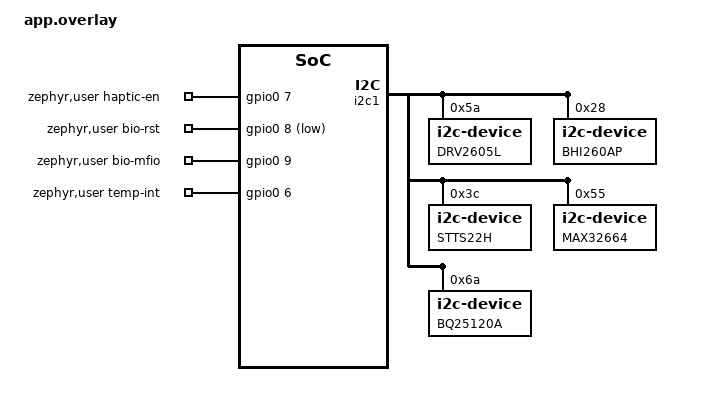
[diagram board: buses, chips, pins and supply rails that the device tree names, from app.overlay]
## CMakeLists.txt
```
#
# Copyright (c) 2018 Nordic Semiconductor
#
# SPDX-License-Identifier: LicenseRef-Nordic-5-Clause
#
cmake_minimum_required(VERSION 3.20.0)

find_package(Zephyr REQUIRED HINTS $ENV{ZEPHYR_BASE})
project(app)

# Spécifie explicitement le chemin de sortie dans le dossier de build
generate_inc_file_for_target(app 
    ${CMAKE_CURRENT_SOURCE_DIR}/assets/bhi260ap_arc_fw.bin 
    ${CMAKE_CURRENT_BINARY_DIR}/bhi260ap_arc_fw.bin.inc
)
target_include_directories(app PRIVATE ${CMAKE_CURRENT_BINARY_DIR})

# NORDIC SDK APP START
target_sources(app PRIVATE src/main.c)

# NORDIC SDK APP END
zephyr_include_directories(
    assets
    include
    drivers
    subsys/algo
    subsys/ble
)

target_sources(app PRIVATE
    # Main file
    src/main.c

    # Layer 1: Hardware Drivers
    drivers/imu_driver.c
    drivers/bio_driver.c
    drivers/temp_driver.c
    drivers/charge_driver.c
    drivers/haptic_driver.c

    # Layer 2: Processing Algorithms and Monitors
    subsys/algo/sensors_wrapper.c
    subsys/algo/power_monitor.c

    # Layer 3: GATT Services (BLE Interface)
    subsys/ble/gringgo_gatt.c
)
```

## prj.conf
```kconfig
#
# Copyright (c) 2018 Nordic Semiconductor
#
# SPDX-License-Identifier: LicenseRef-Nordic-5-Clause
#
CONFIG_NCS_SAMPLES_DEFAULTS=y

CONFIG_BT=y
CONFIG_BT_PERIPHERAL=y
CONFIG_BT_DEVICE_NAME="Nordic_LBS"

CONFIG_I2C=y
CONFIG_GPIO=y
CONFIG_LOG=y

# Enable the LBS service
CONFIG_BT_LBS=y
CONFIG_BT_LBS_POLL_BUTTON=y
CONFIG_DK_LIBRARY=y

CONFIG_SYSTEM_WORKQUEUE_STACK_SIZE=2048

# --- OPTIMISATION STABILITÉ BLE ---

# 1. Augmenter les buffers de transmission (TX)
CONFIG_BT_L2CAP_TX_BUF_COUNT=10
CONFIG_BT_CONN_TX_MAX=10

# 2. Augmenter la taille des paquets côté Host
CONFIG_BT_USER_DATA_LEN_UPDATE=y
CONFIG_BT_BUF_ACL_RX_SIZE=251
CONFIG_BT_BUF_ACL_TX_SIZE=251

# 3. Paramètres de connexion préférés (Plus tolérants pour Android)
# Intervalle min : ~30ms
CONFIG_BT_PERIPHERAL_PREF_MIN_INT=24
# Intervalle max : ~50ms
CONFIG_BT_PERIPHERAL_PREF_MAX_INT=40
# Timeout de supervision : 4 secondes
CONFIG_BT_PERIPHERAL_PREF_TIMEOUT=400
```

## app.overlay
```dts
/ {
    aliases {
        haptic-i2c = &drv2605l;
        imu-i2c = &bhi260ap;
        temp-i2c = &stts22h;
        bio-i2c = &max32664;
        chg-i2c = &bq25120a;
    };

    /* GPIO pins for various functions */
    zephyr,user {
        haptic-en-gpios = <&gpio0 7 GPIO_ACTIVE_HIGH>;
        bio-rst-gpios = <&gpio0 8 GPIO_ACTIVE_LOW>;
        bio-mfio-gpios = <&gpio0 9 GPIO_ACTIVE_HIGH>;
        temp-int-gpios = <&gpio0 6 GPIO_ACTIVE_HIGH>;
    };
};

&i2c1 {
    status = "okay";
    
    /* Haptic Driver DRV2605L */
    drv2605l: drv2605l@5a {
        compatible = "i2c-device";
        reg = <0x5a>;
        label = "DRV2605L";
    };

    /* IMU BHI260AP */
    bhi260ap: bhi260ap@28 {
        compatible = "i2c-device";
        reg = <0x28>;
        label = "BHI260AP";
    };

    /* Temperature Sensor STTS22H */
    stts22h: stts22h@3C {
        compatible = "i2c-device";
        reg = <0x3C>;
        label = "STTS22H";
    };

    /* Biometric Sensor MAX32664 */
    max32664: max32664@55 {
        compatible = "i2c-device";
        reg = <0x55>;
        label = "MAX32664";
    };

    /* Charge Controller BQ25120A */
    bq25120a: bq25120a@6a {
        compatible = "i2c-device";
        reg = <0x6a>;
        label = "BQ25120A";
    };
};
```

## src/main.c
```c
#include <zephyr/types.h>
#include <stddef.h>
#include <string.h>
#include <errno.h>
#include <zephyr/sys/printk.h>
#include <zephyr/sys/byteorder.h>
#include <zephyr/kernel.h>
#include <zephyr/bluetooth/bluetooth.h>
#include <zephyr/bluetooth/hci.h>
#include <zephyr/bluetooth/conn.h>
#include <zephyr/bluetooth/uuid.h>
#include <zephyr/bluetooth/gatt.h>
#include <dk_buttons_and_leds.h>

#define DEVICE_NAME             "nrf"
#define DEVICE_NAME_LEN         (sizeof(DEVICE_NAME) - 1)

#define RUN_STATUS_LED          DK_LED1
#define CON_STATUS_LED          DK_LED2
#define SIMUL_INTERVAL_MS       1000
#define LOW_ENERGY_INTERVAL_MS  5000 // Intervalle quand Low Energy est activé (5 secondes)

/* --- Variables Globales de Simulation --- */
static uint8_t sim_bpm = 70;
static uint8_t sim_spo2 = 98;
static uint32_t sim_steps = 1250;
static uint8_t sim_battery = 85;
static uint8_t sim_temp = 36; 
static uint8_t last_notified_battery = 85; // Initialisée à la même valeur que sim_battery

// Variables pour stocker les états d'activation (reçus de l'appli Android)
static uint8_t health_activation_state = 0;
static uint8_t low_energy_state = 0;
static uint8_t haptic_alert_level = 0;

/* --- Déclaration des UUIDs GATT (16-bit) --- */
#define UUID_SERV_HRS             0x180D
#define UUID_CHAR_HRS_MEAS        0x2A37
#define UUID_SERV_HTS             0x1809
#define UUID_CHAR_HTS_MEAS        0x2B03
#define UUID_SERV_PLX             0x1822
#define UUID_CHAR_PLX_MEAS        0x2B04
#define UUID_SERV_RSC             0x1814
#define UUID_CHAR_RSC_MEAS        0x1068
#define UUID_SERV_DIS             0x180A
#define UUID_CHAR_HEALTH_ACT      0x2B01
#define UUID_CHAR_LOW_EN_ACT      0x2B02
#define UUID_CHAR_MANUF_NAME      0x2A29
#define UUID_SERV_ANS             0x1811
#define UUID_CHAR_ALERT_LEVEL     0x2A45
#define UUID_SERV_BAS             0x180F
#define UUID_CHAR_BATT_LEVEL      0x2A19

/* --- Callbacks d'écriture de l'application Android --- */
static ssize_t write_health_act(struct bt_conn *conn, const struct bt_gatt_attr *attr,
                               const void *buf, uint16_t len, uint16_t offset, uint8_t flags)
{
    if (len != 1) return BT_GATT_ERR(BT_ATT_ERR_INVALID_ATTRIBUTE_LEN);
    health_activation_state = ((uint8_t *)buf)[0];
    printk("[GATT WRITE] Health Activation modifie par Android : %u\n", health_activation_state);
    return len;
}

static ssize_t write_low_en(struct bt_conn *conn, const struct bt_gatt_attr *attr,
                            const void *buf, uint16_t len, uint16_t offset, uint8_t flags)
{
    if (len != 1) return BT_GATT_ERR(BT_ATT_ERR_INVALID_ATTRIBUTE_LEN);
    low_energy_state = ((uint8_t *)buf)[0];
    printk("[GATT WRITE] Low Energy Activation modifie par Android : %u\n", low_energy_state);
    return len;
}

static ssize_t write_haptic(struct bt_conn *conn, const struct bt_gatt_attr *attr,
                            const void *buf, uint16_t len, uint16_t offset, uint8_t flags)
{
    if (len != 1) return BT_GATT_ERR(BT_ATT_ERR_INVALID_ATTRIBUTE_LEN);
    haptic_alert_level = ((uint8_t *)buf)[0];
    printk("[GATT WRITE] Alerte Haptique recue depuis Android ! Niveau : %u\n", haptic_alert_level);
    return len;
}

/* --- DÉFINITION DE LA TABLE DES SERVICES GATT DE GRING-GO --- */
BT_GATT_SERVICE_DEFINE(gringgo_svc,
    /* 1. Heart Rate Service (BPM) */
    BT_GATT_PRIMARY_SERVICE(BT_UUID_DECLARE_16(UUID_SERV_HRS)),
    BT_GATT_CHARACTERISTIC(BT_UUID_DECLARE_16(UUID_CHAR_HRS_MEAS), 
                           BT_GATT_CHRC_NOTIFY, BT_GATT_PERM_NONE, NULL, NULL, NULL),
    BT_GATT_CCC(NULL, BT_GATT_PERM_READ | BT_GATT_PERM_WRITE),

    /* 2. Health Thermometer Service (Température) */
    BT_GATT_PRIMARY_SERVICE(BT_UUID_DECLARE_16(UUID_SERV_HTS)),
    BT_GATT_CHARACTERISTIC(BT_UUID_DECLARE_16(UUID_CHAR_HTS_MEAS), 
                           BT_GATT_CHRC_NOTIFY, BT_GATT_PERM_NONE, NULL, NULL, NULL),
    BT_GATT_CCC(NULL, BT_GATT_PERM_READ | BT_GATT_PERM_WRITE),

    /* 3. Pulse Oximeter Service (SpO2) */
    BT_GATT_PRIMARY_SERVICE(BT_UUID_DECLARE_16(UUID_SERV_PLX)),
    BT_GATT_CHARACTERISTIC(BT_UUID_DECLARE_16(UUID_CHAR_PLX_MEAS), 
                           BT_GATT_CHRC_NOTIFY, BT_GATT_PERM_NONE, NULL, NULL, NULL),
    BT_GATT_CCC(NULL, BT_GATT_PERM_READ | BT_GATT_PERM_WRITE),

    /* 4. Running Speed and Cadence Service (Steps) */
    BT_GATT_PRIMARY_SERVICE(BT_UUID_DECLARE_16(UUID_SERV_RSC)),
    BT_GATT_CHARACTERISTIC(BT_UUID_DECLARE_16(UUID_CHAR_RSC_MEAS), 
                           BT_GATT_CHRC_NOTIFY, BT_GATT_PERM_NONE, NULL, NULL, NULL),
    BT_GATT_CCC(NULL, BT_GATT_PERM_READ | BT_GATT_PERM_WRITE),

    /* 5. Device Information Service (DIS) */
    BT_GATT_PRIMARY_SERVICE(BT_UUID_DECLARE_16(UUID_SERV_DIS)),
    BT_GATT_CHARACTERISTIC(BT_UUID_DECLARE_16(UUID_CHAR_MANUF_NAME), 
                           BT_GATT_CHRC_READ, BT_GATT_PERM_READ, NULL, NULL, "Gring-Go Team"),
    BT_GATT_CHARACTERISTIC(BT_UUID_DECLARE_16(UUID_CHAR_HEALTH_ACT), 
                           BT_GATT_CHRC_WRITE, BT_GATT_PERM_WRITE, NULL, write_health_act, &health_activation_state),
    BT_GATT_CHARACTERISTIC(BT_UUID_DECLARE_16(UUID_CHAR_LOW_EN_ACT), 
                           BT_GATT_CHRC_WRITE, BT_GATT_PERM_WRITE, NULL, write_low_en, &low_energy_state),

    /* 6. Alert Notification Service (Haptic Return) */
    BT_GATT_PRIMARY_SERVICE(BT_UUID_DECLARE_16(UUID_SERV_ANS)),
    BT_GATT_CHARACTERISTIC(BT_UUID_DECLARE_16(UUID_CHAR_ALERT_LEVEL), 
                           BT_GATT_CHRC_WRITE, BT_GATT_PERM_WRITE, NULL, write_haptic, &haptic_alert_level),

    /* 7. Battery Service (BAS) */
    BT_GATT_PRIMARY_SERVICE(BT_UUID_DECLARE_16(UUID_SERV_BAS)),
    BT_GATT_CHARACTERISTIC(BT_UUID_DECLARE_16(UUID_CHAR_BATT_LEVEL), 
                           BT_GATT_CHRC_READ | BT_GATT_CHRC_NOTIFY, BT_GATT_PERM_READ, NULL, NULL, &sim_battery),
    BT_GATT_CCC(NULL, BT_GATT_PERM_READ | BT_GATT_PERM_WRITE)
);

/* --- Configuration de l'Advertising --- */
static const struct bt_data ad[] = {
    BT_DATA_BYTES(BT_DATA_FLAGS, (BT_LE_AD_GENERAL | BT_LE_AD_NO_BREDR)),
    BT_DATA(BT_DATA_NAME_COMPLETE, DEVICE_NAME, DEVICE_NAME_LEN),
};

static const struct bt_data sd[] = {
    BT_DATA_BYTES(BT_DATA_UUID16_ALL, 
                  BT_UUID_16_ENCODE(UUID_SERV_HRS), 
                  BT_UUID_16_ENCODE(UUID_SERV_HTS), 
                  BT_UUID_16_ENCODE(UUID_SERV_BAS)),
};

/* --- Callbacks Connexion Bluetooth --- */
static void connected(struct bt_conn *conn, uint8_t err) {
    if (err) { 
        printk("[STATUS] Echec connexion BLE (err %u)\n", err); 
        return; 
    }
    printk("[STATUS] Connecte a l'application Android !\n");
    dk_set_led_on(CON_STATUS_LED);
}

static void disconnected(struct bt_conn *conn, uint8_t reason) {
    printk("[STATUS] Deconnecte (Raison : %u)\n", reason);
    dk_set_led_off(CON_STATUS_LED);
}

BT_CONN_CB_DEFINE(conn_callbacks) = {
    .connected = connected,
    .disconnected = disconnected,
};

void notify_bpm(uint8_t bpm_val) {
    uint8_t hrm_data[2] = {0x00, bpm_val}; 
    int err = bt_gatt_notify(NULL, &gringgo_svc.attrs[2], hrm_data, sizeof(hrm_data));
    if (err && err != -ENOTCONN) printk("[NOTIFY ERR] BPM (err %d)\n", err);
    else if (!err) printk("[NOTIFY SUCCESS] BPM (%u) transmis\n", bpm_val);
}

void notify_temperature(uint8_t temp_val) {
    uint8_t hts_data[2] = {0x00, temp_val}; 
    int err = bt_gatt_notify(NULL, &gringgo_svc.attrs[6], hts_data, sizeof(hts_data));
    if (err && err != -ENOTCONN) printk("[NOTIFY ERR] TEMP (err %d)\n", err);
    else if (!err) printk("[NOTIFY SUCCESS] TEMP (%u°C) transmis\n", temp_val);
}

void notify_spo2(uint8_t spo2_val) {
    uint8_t plx_data[2] = {0x00, spo2_val}; 
    int err = bt_gatt_notify(NULL, &gringgo_svc.attrs[10], plx_data, sizeof(plx_data));
    if (err && err != -ENOTCONN) printk("[NOTIFY ERR] SPO2 (err %d)\n", err);
    else if (!err) printk("[NOTIFY SUCCESS] SPO2 (%u%%) transmis\n", spo2_val);
}

void notify_steps(uint32_t steps_val) {
    uint8_t step_data[4];
    sys_put_le32(steps_val, step_data); 
    int err = bt_gatt_notify(NULL, &gringgo_svc.attrs[14], step_data, sizeof(step_data));
    if (err && err != -ENOTCONN) printk("[NOTIFY ERR] STEPS (err %d)\n", err);
    else if (!err) printk("[NOTIFY SUCCESS] STEPS (%u) transmis\n", steps_val);
}

void notify_battery(uint8_t batt_val) {
    // Ne pas envoyer de notification si la valeur n'a pas changé
    if (batt_val == last_notified_battery) {
        return;
    }

    int err = bt_gatt_notify(NULL, &gringgo_svc.attrs[28], &batt_val, sizeof(batt_val));
    if (err && err != -ENOTCONN) {
        printk("[NOTIFY ERR] BATT (err %d)\n", err);
    } else if (!err) {
        printk("[NOTIFY SUCCESS] BATT (%u%%) transmis\n", batt_val);
        last_notified_battery = batt_val; // Mettre à jour la dernière valeur envoyée
    }
}

int main(void)
{
    int blink_status = 0;
    int err;

    printk("\n--- INITIALISATION DU SYSTEME SIMULE ---\n");

    err = dk_leds_init();
    if (err) {
        printk("[ERR] Initialisation des LEDs impossible (err %d)\n", err);
        return 0;
    }
    printk("[INIT] LEDs initialisees avec succes\n");

    err = bt_enable(NULL);
    if (err) { 
        printk("[ERR] Initialisation du Bluetooth echouee (err %d)\n", err); 
        return 0; 
    }
    printk("[INIT] Stack Bluetooth activee\n");

    err = bt_le_adv_start(BT_LE_ADV_CONN, ad, ARRAY_SIZE(ad), sd, ARRAY_SIZE(sd));
    if (err) { 
        printk("[ERR] Lancement de l'Advertising echoue (err %d)\n", err); 
        return 0; 
    }
    printk("[INIT] Advertising lance avec succes, en attente du smartphone...\n");

    for (;;) {
        dk_set_led(RUN_STATUS_LED, (++blink_status) % 2);

        printk("\n[SIMUL] --- Generation Top %d ---", blink_status);
        printk(" | Sante: %s | Low Energy: %s\n",
            (health_activation_state == 1) ? "ON" : "OFF",
            (low_energy_state == 1) ? "ON" : "OFF");

        /* --- LOGIQUE 1 : MODE SANTÉ --- */
        // Mise à jour des variables de simulation (toujours active)
        if (health_activation_state == 1) {
            sim_bpm++; if(sim_bpm > 110) sim_bpm = 65;
            sim_steps += 2;
            sim_spo2 = (blink_status % 20 == 0) ? 97 : 99;
            sim_temp = (blink_status % 10 == 0) ? 37 : 36;
        }

        /* --- LOGIQUE 2 : ENVOI DES NOTIFICATIONS --- */
        // On n'envoie les notifications que si :
        // - Le mode Santé est activé ET le mode Low Energy est désactivé
        if (health_activation_state == 1 && low_energy_state == 0) {
            notify_bpm(sim_bpm);
            notify_temperature(sim_temp);
            notify_spo2(sim_spo2);
            notify_steps(sim_steps);
        } else if (low_energy_state == 1) {
            printk("[SIMUL] Mode Low Energy actif : notifications des capteurs désactivées.\n");
        } else {
            printk("[SIMUL] Suivi Santé désactivé, capteurs en veille.\n");
        }

        /* --- LA BATTERIE --- */
        // La batterie est toujours envoyée, même en Low Energy
        if (blink_status % 60 == 0 && sim_battery > 5) {
            sim_battery--;
            notify_battery(sim_battery); // notify_battery vérifie si la valeur a changé
        }

        /* --- LOGIQUE 3 : MODE LOW ENERGY --- */
        // On ajuste le temps de pause en fonction de l'état du Low Energy
        int current_delay = (low_energy_state == 1) ? LOW_ENERGY_INTERVAL_MS : SIMUL_INTERVAL_MS;
        k_sleep(K_MSEC(current_delay));
    }
}
```

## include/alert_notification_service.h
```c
#ifndef ALERT_NOTIFICATION_SERVICE_H_
#define ALERT_NOTIFICATION_SERVICE_H_

#include <stdint.h>

/* Send alert notification with type and level */
void ANS_SendAlert(uint8_t alert_type, uint8_t alert_level);

/* Get current alert level */
uint8_t ANS_GetAlertLevel(void);

#endif /* ALERT_NOTIFICATION_SERVICE_H_ */
```

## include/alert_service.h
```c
#ifndef ALERT_SERVICE_H_
#define ALERT_SERVICE_H_

#include <stdint.h>
#include "gringgo_types.h"

void ALERT_SERVICE_Init(void);
void ALERT_SERVICE_Notify(alert_effect_t effect_id);
void ALERT_SERVICE_Clear(void);

#endif /* ALERT_SERVICE_H_ */
```

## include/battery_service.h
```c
#ifndef BATTERY_SERVICE_H_
#define BATTERY_SERVICE_H_

#include <stdint.h>

/* Update battery level and send notification */
void BAS_NotifyLevel(uint8_t level);

#endif /* BATTERY_SERVICE_H_ */
```

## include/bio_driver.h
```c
#ifndef BIO_DRIVER_H_
#define BIO_DRIVER_H_

#include <zephyr/types.h>
#include "gringgo_types.h"
#include "gringgo_status.h"

/* --- Familles de Commandes (UG6806) --- */
#define BIO_FAM_HUB_STATUS         0x00
#define BIO_FAM_SET_DEVICE_MODE    0x01
#define BIO_FAM_READ_DEVICE_MODE   0x02
#define BIO_FAM_OUTPUT_MODE        0x10
#define BIO_FAM_READ_DATA          0x12
#define BIO_FAM_INPUT_FIFO         0x14
#define BIO_FAM_SENSOR_CONF        0x44
#define BIO_FAM_ALGO_CONF          0x52
#define BIO_FAM_BTLDR_FLASH        0x80
#define BIO_FAM_IDENTITY           0xFF

/* --- Valeurs de Statut (Table 5, p.20) --- */
#define BIO_STATUS_SUCCESS         0x00
#define BIO_STATUS_ERR_TRY_AGAIN   0xFE

/* --- Valeurs de Configuration (Table 8) --- */
#define BIO_VAL_OUTPUT_SENSOR_ALGO     0x03  /* Sensor + Algo Data */
#define BIO_VAL_FIFO_THRESHOLD_DEFAULT 0x0F  /* Seuil FIFO standard */
#define BIO_VAL_EXT_ACCEL_EN           0x01  /* Activation source externe */
#define BIO_VAL_ALGO_MODE_WHRM         0x01  /* Mode algorithme 1 (WHRM) */

/* --- Prototypes du Driver --- */

int BIO_Init(void);
int BIO_SetMode(activity_mode_t mode);
int BIO_ReadData(bio_data_t *data);
int BIO_ReadHeartRate(bio_data_t *data);
int BIO_ReadSpO2(bio_data_t *data);
int BIO_InjectMotionData(imu_data_t *motion_data);

/* Fonctions utilitaires demandées par le squelette */
int BIO_WriteReg(uint8_t reg, uint8_t val);
int BIO_ReadReg(uint8_t reg, uint8_t *val);

#endif /* BIO_DRIVER_H_ */
```

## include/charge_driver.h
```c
#ifndef CHARGE_DRIVER_H_
#define CHARGE_DRIVER_H_

#include <stdbool.h>
#include <stdint.h>

#include "gringgo_types.h"
#include "gringgo_status.h"

/* BQ25120A compatibility constants used by charge_driver.c */
#define BQ_REG_SYS_VOUT       0x06
#define BQ_REG_BAT_VOLT       0x07
#define BQ_REG_FAST_CHG       0x09
#define BQ_REG_STATUS         0x0A
#define BQ_REG_LDO_CTRL       0x0B

#define BQ_CHG_DISABLE_MASK   0x80

#define BQ_STAT_CHG_MASK      0x30
#define BQ_STAT_READY         0x00
#define BQ_STAT_CHG_IN_PROG   0x10
#define BQ_STAT_CHG_DONE      0x20
#define BQ_STAT_FAULT         0x30

int CHG_WriteReg(uint8_t reg, uint8_t val);
int CHG_ReadReg(uint8_t reg, uint8_t *val);
int CHG_Init(void);
int CHG_Control(bool enable);
int CHG_SetCurrent(uint16_t ma);
int CHG_GetStatus(charge_state_t *state);
int CHG_EnableLDO(bool enable);
int CHG_EnterShipMode(void);

#endif /* CHARGE_DRIVER_H_ */
```

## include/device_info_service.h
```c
#ifndef DEVICE_INFO_SERVICE_H_
#define DEVICE_INFO_SERVICE_H_

#include <stdint.h>

uint8_t DIS_GetHealthActivation(void);
uint8_t DIS_GetLowEnergyMode(void);
void DIS_SetHealthActivation(uint8_t active);
void DIS_SetLowEnergyMode(uint8_t active);

#endif /* DEVICE_INFO_SERVICE_H_ */
```

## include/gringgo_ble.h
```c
#ifndef GRINGGO_BLE_H_
#define GRINGGO_BLE_H_

#include <zephyr/types.h>
#include <zephyr/bluetooth/conn.h>

/* --- Etats de contrôle --- */
extern uint8_t health_activation_state;
extern uint8_t low_energy_state;
extern uint8_t haptic_alert_level;

/* --- Prototypes --- */
int gringgo_ble_init(void);

/* --- Fonction d'arbitrage BLE --- */
void gringgo_ble_update(int blink_status);

/* Prototypes des fonctions d'envoi définies dans le sous-système gatt */
void notify_bpm(uint8_t bpm_val);
void notify_temperature(uint8_t temp_val);
void notify_spo2(uint8_t spo2_val);
void notify_steps(uint32_t steps_val);
void notify_battery(uint8_t batt_val);

#endif /* GRINGGO_BLE_H_ */
```

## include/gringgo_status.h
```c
#ifndef GRINGGO_STATUS_H_
#define GRINGGO_STATUS_H_

#define STATUS_OK                 0
#define BIO_STATUS_SUCCESS        STATUS_OK
#define STATUS_ERR_I2C_COM        -1001
#define STATUS_ERR_FW_FLASH       -1002
#define STATUS_ERR_NOT_READY      -1003
#define STATUS_ERR_NO_BLE_CONN    -1004
#define STATUS_ERR_INVALID_PARAM  -1005

#endif /* GRINGGO_STATUS_H_ */
```

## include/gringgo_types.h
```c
/*
 * @file
 * @brief Gringgo types definitions
 */

#ifndef GRINGGO_TYPES_H_
#define GRINGGO_TYPES_H_

#include <zephyr/types.h>
#include <stdbool.h>

typedef enum {
    MODE_STILL, 
    MODE_WALKING, 
    MODE_RUNNING, 
    MODE_SLEEPING
} activity_mode_t;

typedef enum {
    TEMP_MODE_ONESHOT = 0x49,
    TEMP_MODE_FREERUN = 0x4C,
    TEMP_MODE_LOW_ODR = 0xC8
} temp_op_mode_t;

typedef enum {
    IMU_PERF_LONG_RUN = 0x01,     /* 20 MHz - Basse consommation */
    IMU_PERF_TURBO    = 0x00      /* 50 MHz - Haute performance */
} imu_perf_mode_t;

typedef enum {
    /* IDs basés sur la Library 6 (LRA) du DRV2605L */
    ALERT_VIB_INCOMING_CALL = 14, // Double Click 100%
    ALERT_VIB_NOTIFICATION  = 1,  // Strong Click 100%
    ALERT_VIB_FINDMYRING    = 16, // Triple Click 100% (Alerte forte)
    ALERT_VIB_ALARM         = 10, // Long Buzz 100%
    ALERT_VIB_NONE          = 0   // Fin de séquence / Arrêt
} alert_effect_t;

typedef struct {
    uint32_t steps_count;
    imu_perf_mode_t mode;
    int16_t accel_x;
    int16_t accel_y;
    int16_t accel_z;
} imu_data_t;

typedef struct {
    uint16_t bpm;
    uint8_t spo2;
    uint16_t hrv;
} bio_data_t;

typedef struct {
    uint8_t battery_level;
    bool is_charging;
    uint16_t voltage_mv;
} charge_data_t;

typedef enum {
    CHG_STATE_READY,
    CHG_STATE_CHARGING,
    CHG_STATE_DONE,
    CHG_STATE_FAULT
} charge_state_t;

typedef struct {
    bio_data_t bio;
    imu_data_t imu;
    charge_data_t charge;
    float temp_c;
} sensors_data_t;

#endif /* GRINGGO_TYPES_H_ */
```

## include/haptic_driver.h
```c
/*
 * @file
 * @brief Haptic driver interface
 */

#ifndef HAPTIC_DRIVER_H_
#define HAPTIC_DRIVER_H_

#include "gringgo_types.h"
#include "gringgo_status.h"

int HAPTIC_Init(void);
int HAPTIC_PlayPattern(alert_effect_t effect_id);
int HAPTIC_WriteReg(uint8_t reg, uint8_t val);

#endif /* HAPTIC_DRIVER_H_ */
```

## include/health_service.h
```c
#ifndef HEALTH_SERVICE_H_
#define HEALTH_SERVICE_H_

#include <stdint.h>

/* Update heart rate and HRV, send notification */
void HRS_Notify(uint16_t bpm, uint16_t hrv_ms);

#endif /* HEALTH_SERVICE_H_ */
```

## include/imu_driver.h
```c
#ifndef IMU_DRIVER_H_
#define IMU_DRIVER_H_

#include "gringgo_types.h"
#include "gringgo_status.h"

/* --- Registres de l'Interface Host (Table 17, p.65) --- */
#define BHI260_REG_CH0_CMD              0x00  /* Canal de commande (Write-only) */
#define BHI260_REG_CH1_WAKEUP_FIFO      0x01  /* FIFO Réveil (Read-only) */
#define BHI260_REG_CH2_NWU_FIFO         0x02  /* FIFO Normale (Read-only) - Pour tes pas */
#define BHI260_REG_CHIP_CTRL            0x05  /* Contrôle Fuser2 (Turbo/Power) */
#define BHI260_REG_RESET_REQ            0x14  /* Reset matériel */
#define BHI260_REG_PRODUCT_ID           0x1C  /* Identification (doit lire 0x89) */
#define BHI260_REG_BOOT_STATUS          0x25  /* État du bootloader (Bit 4 = Ready) */

/* --- Commandes de l'Interface Host (Table 31, p.83) --- */
#define BHI260_CMD_FW_UPLOAD            0x0002 /* Upload vers RAM */
#define BHI260_CMD_FW_BOOT              0x0003 /* Boot depuis RAM */
#define BHI260_CMD_CONFIGURE_SENSOR     0x000D /* Configuration/Activation capteur */

/* --- Valeurs de Registres --- */
#define BHI260_VAL_RESET_FUSER2         0x01   /* Reset complet */
#define BHI260_VAL_CHIP_CTRL_TURBO_DIS  0x01   /* Désactive Turbo (20MHz) pour la bague */
#define BHI260_VAL_CHIP_CTRL_TURBO_EN   0x00   /* Mode 50MHz */

/* --- IDs des Capteurs Virtuels (Table 88, p.120-121) --- */
/* --- IDs des Capteurs Virtuels Officiels (Manuel Bosch p.22-23) --- */
#define BHI260_SENSOR_ID_STEP_COUNTER   0x88  /* 136 en décimal : Compteur de pas (UINT32) */
#define BHI260_SENSOR_ID_ACTIVITY       0x8E  /* 142 en décimal : SENSOR_TYPE_ANY_MOTION */
#define BHI260_ID_META_EVENT            254   /* Événements système */
#define BHI260_ID_PADDING               0     /* Padding */
#define BHI260_SENSOR_ID_STATIONARY     75     /* Sommeil (Détection immobilité) */

/* --- Masques pour BHI260_REG_BOOT_STATUS --- */
#define BHI260_STATUS_HOST_IF_READY     0x10  /* Bit 4 : Interface prête */
#define BHI260_STATUS_VERIFY_DONE       0x20  /* Bit 5 : Signature FW valide */
#define BHI260_STATUS_VERIFY_ERROR      0x40  /* Bit 6 : Erreur de signature */

/* Prototypes */
int IMU_Init(void);
int IMU_UploadFW(void);
int IMU_SetPerformanceMode(imu_perf_mode_t mode);
int IMU_EnableSensor(uint8_t sensor_id, float freq_hz);
int IMU_WriteReg(uint8_t reg, uint8_t val);
int IMU_ReadData(sensors_data_t *data);

#endif
```
